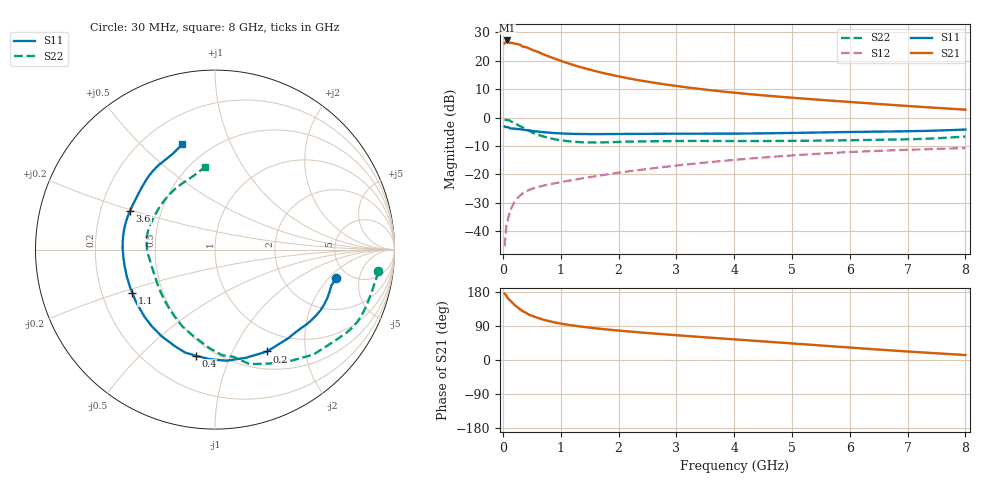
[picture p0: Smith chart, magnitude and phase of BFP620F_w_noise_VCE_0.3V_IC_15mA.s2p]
! Infineon Technologies  Discrete & RF Semiconductors
! BFP620F
! VCE =  0.3 V,  IC =  15 mA
! Common Emitter S-Parameters:  Dec 2014
# GHz  S  MA  R  50
!  f  S11  S21  S12  S22
! GHz  MAG  ANG  MAG  ANG  MAG  ANG  MAG  ANG
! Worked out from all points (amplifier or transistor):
!   95 points, 30 MHz to 8 GHz, reference 50 ohm
!   highest |S21| = 27.1 dB at 70 MHz (marker M1)
!   |S21| within 3 dB of that: start of sweep to 475 MHz
!   unconditionally stable (mu >= 1): 2.85 GHz to end of sweep
!   at 300 MHz: K = 0.19, MSG = 26.4 dB, |S12| = -27.4 dB
!   at 3.3 GHz: K = 1.02, MAG = 12.4 dB, |S12| = -16.2 dB
!   at 8 GHz: K = 1.10, MAG = 4.9 dB, |S12| = -10.7 dB
!   lowest NFmin = 0.71 dB at 450 MHz
!   S11 on the Smith chart (normalised r, x): 30 MHz: 3.99, -2.45; 200 MHz: 0.72, -1.37; 400 MHz: 0.41, -0.75; 1.1 GHz: 0.33, -0.22; 3.6 GHz: 0.33, +0.19; 8 GHz: 0.36, +0.67
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0.03  0.6952 -13.2  20.02 174.8  0.0055 86.4  0.9163 -7.6
0.05  0.6803 -20.0  21.46 172.1  0.0091 75.1  0.9079 -12.4
0.07  0.6809 -26.4  22.56 167.1  0.014 79.0  0.902 -17.0
0.09  0.6726 -33.0  22.04 162.5  0.0168 76.7  0.8982 -21.9
0.12  0.6495 -42.4  20.49 157.4  0.0224 72.5  0.8791 -29.7
0.15  0.6407 -50.5  20.59 153.5  0.0261 69.2  0.8438 -36.4
0.2  0.6375 -62.9  19.88 145.6  0.033 64.7  0.8016 -46.9
0.3  0.6223 -84.1  18.89 133.2  0.0429 56.0  0.7021 -64.8
0.35  0.6112 -92.8  17.47 128.3  0.047 53.6  0.6668 -73.2
0.4  0.6005 -100.4  17.22 124.6  0.0502 51.0  0.6058 -80.3
0.5  0.5829 -112.4  15.54 117.0  0.0558 48.3  0.5501 -93.2
0.7  0.5532 -129.8  12.84 106.4  0.0635 45.2  0.4649 -113.0
0.9  0.5318 -142.4  10.78 99.1  0.0701 44.7  0.4144 -128.3
1.1  0.5199 -152.2  9.143 93.6  0.0764 44.9  0.3864 -140.9
1.4  0.5138 -163.4  7.4 87.2  0.0862 45.4  0.3669 -155.5
2  0.5131 -178.9  5.284 77.7  0.1073 46.0  0.3716 -174.8
2.7  0.5183 168.5  3.958 68.9  0.1321 44.8  0.3828 173.3
3.6  0.5201 155.5  3.012 58.8  0.1655 41.4  0.3874 162.2
4.1  0.5224 149.3  2.67 53.4  0.1838 38.7  0.3855 155.9
5.4  0.5445 135.2  2.075 39.4  0.2291 30.0  0.3921 137.5
6.7  0.5684 121.3  1.672 25.5  0.2642 20.0  0.4093 118.3
8  0.6154 107.5  1.373 13.1  0.2901 10.4  0.4646 96.7
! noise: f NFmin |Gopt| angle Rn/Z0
0.45  0.71  0.15  6  0.2
0.9  0.77  0.14  18  0.18
1.5  0.82  0.13  20  0.13
1.8  0.85  0.13  21  0.11
1.9  0.86  0.09  36  0.14
2.4  0.9  0.08  52  0.12
3.5  0.98  0.06  85  0.13
5.5  1.13  0.11  208  0.08
6  1.17  0.11  235  0.13
